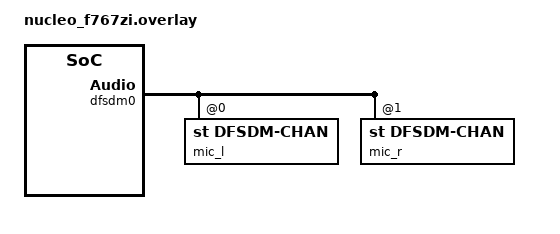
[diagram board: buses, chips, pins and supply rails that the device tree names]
/*
 * Copyright (c) 2024 Charlie Gilliland
 *
 * SPDX-License-Identifier: Apache-2.0
 */

/ {
    /* This section would be in the chip's dtsi file
       along with all the other peripherals.
       These are configurations that might vary chip to chip,
       but are constant for this chip.
       User configurations such as pins, dma, etc.
       would be in the board's dts file, or in a board overlay. */

    dfsdm0: dfsdm@40017400 {
        compatible = "st,stm32-dfsdm";
        #address-cells = <1>;
        #size-cells = <0>;
        reg = <0x40017400 0x400>;      // This comes from the reference manual, will be different for other MCUs
        clocks = <&rcc STM32_CLOCK_BUS_APB2 STM32_CLOCK(0, 1, 25, DCKCFGR1_REG)>; // Default (reset state) is APB2 aka PCLK2
        // TODO: the default audio clock would also be configured here
        interrupts = <99 0>, <100 0>, <101 0>, <102 0>;
        // TODO: reset ??? RM0410 p.181
    };

};

dmic_dev: &dfsdm0 {
    status = "okay";
    audio-clock = <&pllsai1>; // TODO: plli2s, pllsai1, and pllsai2 are not implemented for the f7, so we can't choose an audio clock yet...

    mic_l: mic@0 {
        compatible = "st,dfsdm-chan";
        pinctrl-0 = <&dfsdm1_datin6_pf13,
                     &dfsdm1_ckout_pe9>;
        pinctrl-names = "default";
        dmas = <&dma2 4 8 0x12A80 0x03>;    // DMA Channel and Stream come from the reference manual. But do we really need to configure the whole thing here?
        sample-edge = "rising";
    };

    mic_r: mic@1 {
        compatible = "st,dfsdm-chan";
        pinctrl-0 = <&dfsdm1_datin6_pf13,
                     &dfsdm1_ckout_pe9>;
        pinctrl-names = "default";
        dmas = <&dma2 5 8 0x12A80 0x03>;
        sample-edge = "falling";
    };

    /* We can have up to 4 mics in a single DFSDM instance.
       Two mics can share the same data pin by sampling on either rising/falling edge of clock,
       or each mic can use its own data pin, optionally sampling on either rising/falling edge of clock.
       
       Unsure whether a single DMA channel can handle multiple PCM output channels.
       But for sure, each PCM output can have its own DMA channel.
       */

    /*
    mic_2: mic@2 {
        compatible = "st,dfsdm-chan";
        pinctrl-0 = <>;
        pinctrl-names = "default";
        sample-edge = "rising";
        dmas = <>;                         // TODO: dummy
    };

    mic_3: mic@3 {
        compatible = "st,dfsdm-chan";
        pinctrl-0 = <>;
        pinctrl-names = "default";
        sample-edge = "falling";
        dmas = <>;                         // TODO: dummy
    };
    */
};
